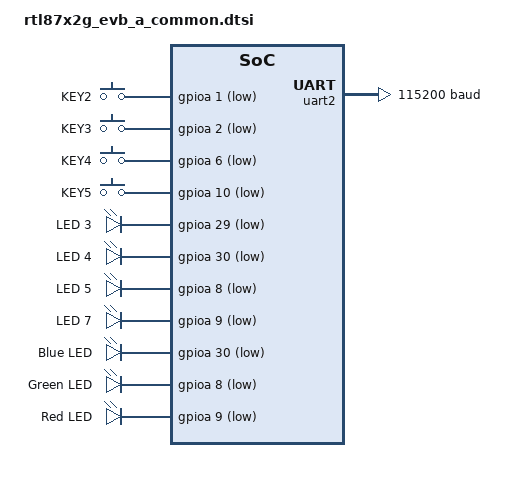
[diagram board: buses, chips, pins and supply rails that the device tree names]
/*
 * Copyright (c) 2026, Realtek Semiconductor Corporation
 *
 * SPDX-License-Identifier: Apache-2.0
 */

#include "rtl87x2g_evb_a-pinctrl.dtsi"
#include <zephyr/dt-bindings/input/input-event-codes.h>

/ {
	compatible = "realtek,rtl87x2g_evb_a";

	chosen {
		zephyr,sram = &tcm0;
		zephyr,flash = &flash;
		zephyr,code-partition = &app_partition;
		zephyr,itcm = &tcm1;
		zephyr,console = &uart2;
		zephyr,shell-uart = &uart2;
	};

	aliases {
		led0 = &green_led;
		sw0 = &key2;
	};

	gpio_keys {
		compatible = "gpio-keys";

		key2: key2 {
			gpios = <&gpioa 1 (GPIO_PULL_UP | GPIO_ACTIVE_LOW)>;
			label = "KEY2";
			zephyr,code = <INPUT_KEY_0>;
		};

		key3: key3 {
			gpios = <&gpioa 2 (GPIO_PULL_UP | GPIO_ACTIVE_LOW)>;
			label = "KEY3";
			zephyr,code = <INPUT_KEY_1>;
		};

		key4: key4 {
			gpios = <&gpioa 6 (GPIO_PULL_UP | GPIO_ACTIVE_LOW)>;
			label = "KEY4";
			zephyr,code = <INPUT_KEY_2>;
		};

		key5: key5 {
			gpios = <&gpioa 10 (GPIO_PULL_UP | GPIO_ACTIVE_LOW)>;
			label = "KEY5";
			zephyr,code = <INPUT_KEY_3>;
		};
	};

	leds {
		compatible = "gpio-leds";
	
		led3: led_3 {
			gpios = <&gpioa 29 GPIO_ACTIVE_LOW>;
			label = "LED 3";
		};
	
		led4: led_4 {
			gpios = <&gpioa 30 GPIO_ACTIVE_LOW>;
			label = "LED 4";
		};
	
		led5: led_5 {
			gpios = <&gpioa 8 GPIO_ACTIVE_LOW>;
			label = "LED 5";
		};
	
		led7: led_7 {
			gpios = <&gpioa 9 GPIO_ACTIVE_LOW>;
			label = "LED 7";
		};

		blue_led: blue_led {
			gpios = <&gpioa 30 GPIO_ACTIVE_LOW>;
			label = "Blue LED";
		};

		green_led: green_led {
			gpios = <&gpioa 8 GPIO_ACTIVE_LOW>;
			label = "Green LED";
		};

		red_led: red_led {
			gpios = <&gpioa 9 GPIO_ACTIVE_LOW>;
			label = "Red LED";
		};
	};
};

&gpioa {
	pinctrl-0 = <&gpioa_default>;
	pinctrl-names = "default";
	status = "okay";
};

&uart2 {
	pinctrl-0 = <&uart2_default>;
	pinctrl-names = "default";
	status = "okay";
	current-speed = <115200>;
	parity = "none";
	stop-bits = "1";
	data-bits = <8>;
};

&cpu {
	clock-frequency = <40000000>;
};
